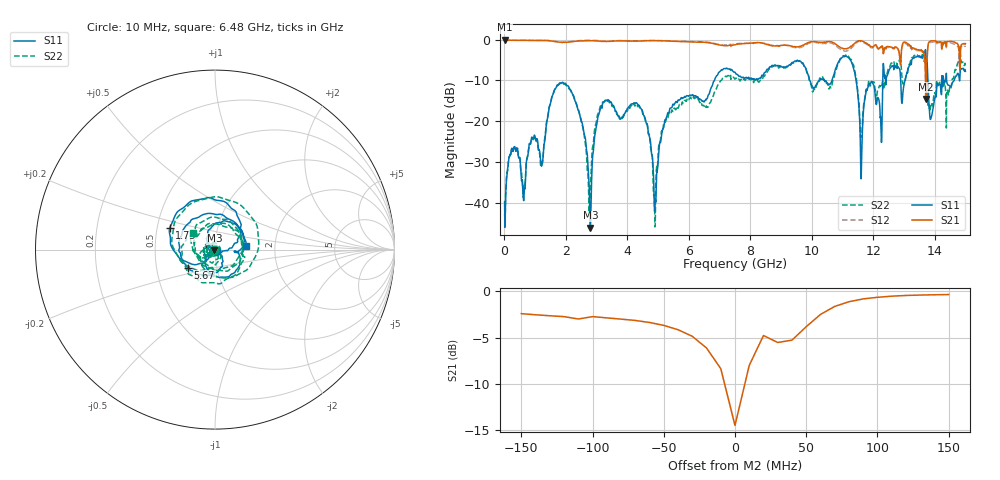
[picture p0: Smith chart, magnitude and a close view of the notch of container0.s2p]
#  HZ  S  DB  R  50.00
! Rohde & Schwarz ZVA40 2Ports - Version 3.90 - 1145.1110k40 SN: 100154
! Date: 2006-06-10 02:06:39
! Measurements: S11 S21 S12 S22
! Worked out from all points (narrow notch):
!   1500 points, 10 MHz to 15 GHz, reference 50 ohm
!   highest |S21| = -0.02 dB at 10 MHz (marker M1); lowest = -14.5 dB at 13.71 GHz (marker M2)
!   notch at M2: 13.9 dB deep, 25 MHz wide at half that depth
!   lowest |S11| = -46.1 dB at 2.8 GHz (marker M3), VSWR 1.01, Z = 49.7 - j0.397 ohm
!   |S11| at or under -10 dB: start of sweep to 6.835 GHz; 11.44 GHz to 12.31 GHz (868.6 MHz wide, 7.31 % of centre); 13.78 GHz to 14.23 GHz (448.4 MHz wide, 3.2 % of centre)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
!   |S22| runs from -45.9 to -1.8 dB; largest |S21 - S12| = 0.091
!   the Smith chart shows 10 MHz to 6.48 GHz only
!   S11 on the Smith chart (normalised r, x): 10 MHz: 1.01, -0.02; 1.73 GHz: 0.58, +0.15; 5.67 GHz: 0.73, -0.15; 6.48 GHz: 1.42, +0.06
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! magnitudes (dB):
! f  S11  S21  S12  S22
! 10 MHz  -39.7  0.0  0.2  -42.8
! 280 MHz  -27.4  -0.1  -0.1  -27.4
! 620 MHz  -38.7  -0.2  -0.1  -38.7
! 930 MHz  -24.2  -0.2  -0.1  -24.5
! 1.23 GHz  -30.4  -0.2  -0.1  -30.4
! 1.73 GHz  -11.1  -0.6  -0.5  -11.2
! 2.51 GHz  -20.1  -0.3  -0.2  -20.0
! 2.8 GHz  -46.1  -0.2  -0.1  -37.2
! 3.32 GHz  -14.8  -0.4  -0.3  -15.0
! 4.43 GHz  -16.8  -0.3  -0.3  -17.2
! 4.9 GHz  -40.6  -0.2  -0.2  -45.9
! 5.01 GHz  -29.1  -0.2  -0.2  -27.2
! 5.67 GHz  -14.9  -0.4  -0.3  -16.5
! 6.48 GHz  -15.1  -0.6  -0.5  -16.1
! 7.51 GHz  -8.0  -1.2  -1.0  -9.6
! 10.01 GHz  -11.3  -0.5  -0.6  -12.3
! 11.21 GHz  -4.5  -2.0  -2.6  -4.2
! 11.62 GHz  -30.5  -0.3  -0.4  -23.9
! 12.51 GHz  -7.6  -1.7  -1.9  -6.7
! 13.71 GHz  -2.7  -14.5  -14.6  -4.2
! 13.89 GHz  -19.0  -0.3  -0.6  -15.5
! 15 GHz  -7.8  -1.0  -1.5  -6.3
